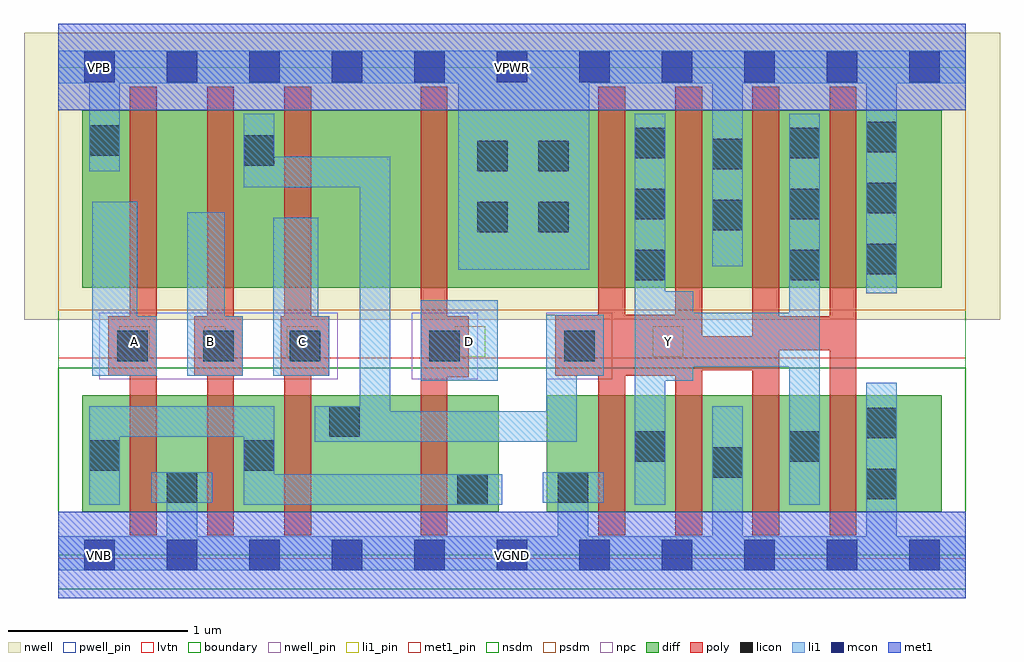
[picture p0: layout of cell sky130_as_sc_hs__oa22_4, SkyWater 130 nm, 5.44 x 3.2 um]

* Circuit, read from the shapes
.subckt sky130_as_sc_hs__oa22_4 A B C D VGND VNB VPB VPWR Y
XM1 VGND A n1 VNB sky130_fd_pr__nfet_01v8_lvt w=0.65 l=0.15
XM2 n1 B VGND VNB sky130_fd_pr__nfet_01v8_lvt w=0.65 l=0.15
XM3 n2 C n1 VNB sky130_fd_pr__nfet_01v8_lvt w=0.65 l=0.15
XM4 n1 D n2 VNB sky130_fd_pr__nfet_01v8_lvt w=0.65 l=0.15
XM5 Y n2 VGND VNB sky130_fd_pr__nfet_01v8_lvt w=0.65 l=0.15 m=4
XM6 n3 A VPWR VPB sky130_fd_pr__pfet_01v8 w=0.99 l=0.15
XM7 n2 B n3 VPB sky130_fd_pr__pfet_01v8 w=0.99 l=0.15
XM8 n4 C n2 VPB sky130_fd_pr__pfet_01v8 w=0.99 l=0.15
XM9 VPWR D n4 VPB sky130_fd_pr__pfet_01v8 w=0.99 l=0.15
XM10 Y n2 VPWR VPB sky130_fd_pr__pfet_01v8 w=0.99 l=0.15 m=4
.ends

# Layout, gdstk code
import gdstk
lib = gdstk.Library(unit=1e-6, precision=1e-09)
def R(c, l, rs):  # rectangles x0, y0, x1, y1
    for r in rs: c.add(gdstk.rectangle(r[:2], r[2:], *l))
def A(c, l, x, y, w, h, nx, ny, dx, dy):  # array of equal rectangles
    R(c, l, [(x+i*dx, y+j*dy, x+i*dx+w, y+j*dy+h) for i in range(nx) for j in range(ny)])
nwell_pin = (64, 16)
nwell = (64, 20)
diff = (65, 20)
poly = (66, 20)
licon = (66, 44)
li1_pin = (67, 16)
li1 = (67, 20)
mcon = (67, 44)
met1_pin = (68, 16)
met1 = (68, 20)
nsdm = (93, 44)
psdm = (94, 20)
npc = (95, 20)
pwell_pin = (122, 16)
lvtn = (125, 44)
boundary = (235, 4)

sky130_as_sc_hs__oa22_4 = lib.new_cell('sky130_as_sc_hs__oa22_4')
R(sky130_as_sc_hs__oa22_4, nwell_pin, [(0.145,2.635,0.315,2.805)])
R(sky130_as_sc_hs__oa22_4, nwell, [(-0.19,1.31,5.25,2.91)])
R(sky130_as_sc_hs__oa22_4, diff, [(0.135,0.24,2.455,0.89), (2.725,0.24,4.925,0.89), (0.135,1.49,4.925,2.48)])
A(sky130_as_sc_hs__oa22_4, poly, 0.4, 0.11, 0.15, 0.89, 3, 1, 0.43, 0)
A(sky130_as_sc_hs__oa22_4, poly, 0.28, 1, 0.27, 0.33, 3, 1, 0.48, 0)
A(sky130_as_sc_hs__oa22_4, poly, 0.4, 1.33, 0.15, 1.28, 3, 1, 0.43, 0)
R(sky130_as_sc_hs__oa22_4, poly, [(2.02,0.11,2.17,0.99), (3.01,0.11,3.16,1), (3.44,0.11,3.59,1), (3.87,0.11,4.02,1.03), (4.3,0.11,4.45,1.14), (2.02,0.99,2.29,1.33), (2.77,1,3.59,1.03), (2.77,1.03,4.02,1.14), (2.77,1.14,4.45,1.22), (2.77,1.22,3.59,1.34), (3.87,1.22,4.45,1.33), (2.02,1.33,2.17,2.61), (3.87,1.33,4.02,2.61), (4.3,1.33,4.45,2.61), (3.01,1.34,3.16,2.61), (3.44,1.34,3.59,2.61)])
A(sky130_as_sc_hs__oa22_4, licon, 0.33, 1.08, 0.17, 0.17, 3, 1, 0.48, 0)
A(sky130_as_sc_hs__oa22_4, licon, 3.215, 1.53, 0.17, 0.17, 1, 3, 0, 0.34)
A(sky130_as_sc_hs__oa22_4, licon, 4.075, 1.53, 0.17, 0.17, 1, 3, 0, 0.34)
A(sky130_as_sc_hs__oa22_4, licon, 4.505, 1.565, 0.17, 0.17, 1, 3, 0, 0.34)
R(sky130_as_sc_hs__oa22_4, licon, [(2.225,0.28,2.395,0.45), (0.605,0.29,0.775,0.46), (2.785,0.29,2.955,0.46), (4.505,0.31,4.675,0.48), (3.645,0.43,3.815,0.6), (0.175,0.47,0.345,0.64), (1.035,0.47,1.205,0.64), (3.215,0.52,3.385,0.69), (4.075,0.52,4.245,0.69), (4.505,0.65,4.675,0.82), (1.51,0.66,1.68,0.83), (2.07,1.08,2.24,1.25), (2.82,1.08,2.99,1.25), (2.335,1.8,2.505,1.97), (2.675,1.8,2.845,1.97), (3.645,1.81,3.815,1.98), (2.335,2.14,2.505,2.31), (2.675,2.14,2.845,2.31), (3.645,2.15,3.815,2.32), (1.035,2.17,1.205,2.34), (0.175,2.225,0.345,2.395)])
A(sky130_as_sc_hs__oa22_4, li1_pin, 0.34, 1.105, 0.17, 0.17, 3, 1, 0.935, 0)
R(sky130_as_sc_hs__oa22_4, li1_pin, [(0.815,1.105,0.935,1.275), (3.315,1.105,3.485,1.275)])
R(sky130_as_sc_hs__oa22_4, li1, [(0,-0.085,5.06,0.105), (0.605,0.105,0.775,0.29), (2.785,0.105,2.955,0.29), (3.645,0.105,3.815,0.83), (4.505,0.105,4.675,0.96), (0.175,0.28,0.345,0.66), (1.035,0.28,2.475,0.45), (3.215,0.28,3.385,0.97), (4.075,0.28,4.245,1.05), (0.52,0.29,0.86,0.46), (2.7,0.29,3.04,0.46), (1.035,0.45,1.205,0.66), (1.43,0.63,2.89,0.8), (0.175,0.66,1.205,0.83), (1.43,0.8,1.85,0.83), (2.72,0.8,2.89,1), (1.68,0.83,1.85,2.05), (2.02,0.97,2.45,1.42), (3.215,0.97,3.54,1.05), (0.19,1,0.55,1.33), (0.72,1,1.03,1.33), (1.2,1,1.51,1.33), (2.72,1,3.04,1.34), (3.215,1.05,4.245,1.35), (0.19,1.33,0.44,1.97), (0.72,1.33,0.93,1.91), (1.2,1.33,1.45,1.88), (3.215,1.35,3.54,1.47), (4.075,1.35,4.245,2.46), (4.505,1.46,4.675,2.63), (3.215,1.47,3.385,2.46), (2.23,1.59,2.96,2.63), (3.645,1.61,3.815,2.63), (1.035,2.05,1.85,2.22), (0.175,2.14,0.345,2.63), (1.035,2.22,1.205,2.46), (0,2.63,5.06,2.81)])
A(sky130_as_sc_hs__oa22_4, mcon, 0.145, -0.085, 0.17, 0.17, 11, 2, 0.46, 2.72)
R(sky130_as_sc_hs__oa22_4, met1_pin, [(0,-0.24,5.06,0.24), (0.145,-0.085,0.315,0.085), (0,2.48,5.06,2.96), (0.145,2.635,0.315,2.805)])
R(sky130_as_sc_hs__oa22_4, met1, [(0,-0.24,5.06,0.24), (0,2.48,5.06,2.96)])
R(sky130_as_sc_hs__oa22_4, nsdm, [(0,-0.19,5.06,1.045)])
R(sky130_as_sc_hs__oa22_4, psdm, [(0,1.365,5.06,2.91)])
R(sky130_as_sc_hs__oa22_4, npc, [(0.23,0.98,1.56,1.35), (1.97,0.98,2.34,1.35), (2.72,0.98,3.09,1.35)])
R(sky130_as_sc_hs__oa22_4, pwell_pin, [(0.145,-0.085,0.315,0.085)])
R(sky130_as_sc_hs__oa22_4, lvtn, [(0,-0.02,5.06,1.1)])
R(sky130_as_sc_hs__oa22_4, boundary, [(0,0,5.06,2.72)])
sky130_as_sc_hs__oa22_4.add(gdstk.Label('VNB', (0.23,0), layer=64, texttype=59))
sky130_as_sc_hs__oa22_4.add(gdstk.Label('VPB', (0.23,2.72), layer=64, texttype=5))
sky130_as_sc_hs__oa22_4.add(gdstk.Label('A', (0.425,1.19), layer=67, texttype=5))
sky130_as_sc_hs__oa22_4.add(gdstk.Label('B', (0.85,1.19), layer=67, texttype=5))
sky130_as_sc_hs__oa22_4.add(gdstk.Label('C', (1.36,1.19), layer=67, texttype=5))
sky130_as_sc_hs__oa22_4.add(gdstk.Label('D', (2.295,1.19), layer=67, texttype=5))
sky130_as_sc_hs__oa22_4.add(gdstk.Label('Y', (3.4,1.19), layer=67, texttype=5))
sky130_as_sc_hs__oa22_4.add(gdstk.Label('VNB', (0.23,0), layer=64, texttype=59))
sky130_as_sc_hs__oa22_4.add(gdstk.Label('VPB', (0.23,2.72), layer=64, texttype=5))
sky130_as_sc_hs__oa22_4.add(gdstk.Label('VPWR', (2.53,2.72), layer=68, texttype=5))
sky130_as_sc_hs__oa22_4.add(gdstk.Label('VPWR', (0.23,2.72), layer=68, texttype=5))
sky130_as_sc_hs__oa22_4.add(gdstk.Label('VGND', (2.53,0), layer=68, texttype=5))
sky130_as_sc_hs__oa22_4.add(gdstk.Label('VGND', (0.23,0), layer=68, texttype=5))
sky130_as_sc_hs__oa22_4.add(gdstk.Label('A', (0.425,1.19), layer=67, texttype=5))
sky130_as_sc_hs__oa22_4.add(gdstk.Label('B', (0.875,1.19), layer=67, texttype=5))
sky130_as_sc_hs__oa22_4.add(gdstk.Label('C', (1.36,1.19), layer=67, texttype=5))
sky130_as_sc_hs__oa22_4.add(gdstk.Label('D', (2.295,1.19), layer=67, texttype=5))
sky130_as_sc_hs__oa22_4.add(gdstk.Label('Y', (3.4,1.19), layer=67, texttype=5))

lib.write_gds('sky130_as_sc_hs__oa22_4.gds')
